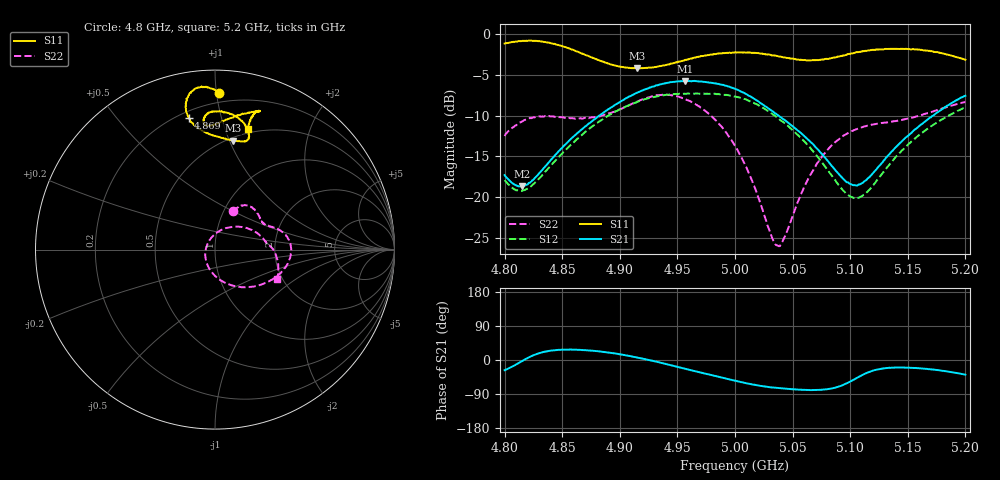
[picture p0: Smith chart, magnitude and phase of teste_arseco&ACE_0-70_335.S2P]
! Network Analyzer HP8722D
! Hewlett-Packard
! Data name: Linha & Wilkinson
! Saver's name: Rodrigo Anjos
! Comments: Teste da utilização de aquisição
! continua pelo VNA HP8722D
! Time and date: 8/5/2025 15:33
!  Frequency  S11  S21  S12  S22
# HZ  S  MA R 50
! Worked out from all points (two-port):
!   401 points, 4.8 GHz to 5.2 GHz, reference 50 ohm
!   highest |S21| = -5.74 dB at 4.957 GHz (marker M1); lowest = -18.7 dB at 4.815 GHz (marker M2)
!   |S21| within 3 dB of the highest: 4.895 GHz to 5.025 GHz (129.9 MHz wide, 2.62 % of centre); 5.184972 GHz to end of sweep
!   lowest |S11| = -4.2 dB at 4.915 GHz (marker M3), VSWR 4.19, Z = 26.4 + j51.5 ohm
!   |S11| at or under -10 dB: nowhere
!   |S22| runs from -26.0 to -7.4 dB; largest |S21 - S12| = 0.89
!   S11 on the Smith chart (normalised r, x): 4.8 GHz: 0.14, +1.02; 4.869 GHz: 0.24, +0.79; 5.2 GHz: 0.46, +1.20
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4.8e9  0.8736 88.5  0.1367 -27.0  0.1272 100.5  0.2371 64.5
4.815e9  0.9056 92.8  0.1165 -3.0  0.1092 121.5  0.2906 57.7
4.845e9  0.8605 100.2  0.1846 26.3  0.1703 150.3  0.3116 39.6
4.867e9  0.7588 101.4  0.2605 26.3  0.2404 153.5  0.3029 30.4
4.869e9  0.7493 101.3  0.2675 26.0  0.2473 153.4  0.3056 29.7
4.894e9  0.6449 93.0  0.3599 18.0  0.3284 148.3  0.3326 23.0
4.915e9  0.6149 80.7  0.4365 6.7  0.3837 139.8  0.384 15.4
4.934e9  0.6349 73.8  0.4889 -6.2  0.4187 129.5  0.4225 3.0
4.957e9  0.6954 74.8  0.5164 -23.3  0.4301 114.9  0.3998 -16.3
4.981e9  0.75 81.1  0.5002 -40.9  0.4302 99.6  0.3071 -41.2
5e9  0.7725 87.4  0.4609 -54.7  0.4148 86.4  0.2058 -68.9
5.019e9  0.764 92.4  0.3912 -66.8  0.3703 73.3  0.1053 -109.6
5.032e9  0.7393 94.5  0.3382 -72.3  0.3253 66.2  0.05694 -161.7
5.037e9  0.7321 94.9  0.3191 -73.9  0.3064 64.0  0.05061 166.2
5.043e9  0.7182 95.1  0.2976 -75.6  0.2841 61.8  0.05697 128.8
5.067e9  0.6906 92.7  0.2141 -79.3  0.194 57.8  0.143 58.7
5.083e9  0.71 87.8  0.1588 -75.7  0.1387 63.0  0.2043 37.2
5.103e9  0.7634 79.5  0.1185 -52.1  0.09907 90.2  0.2572 19.7
5.115e9  0.7896 75.4  0.13 -33.2  0.108 111.3  0.2747 13.2
5.134e9  0.8097 72.2  0.1833 -20.4  0.1584 125.9  0.2894 7.4
5.17e9  0.783 74.0  0.3087 -24.6  0.2715 120.6  0.3324 -2.3
5.2e9  0.6953 74.7  0.4184 -38.9  0.3564 109.0  0.3831 -25.5
